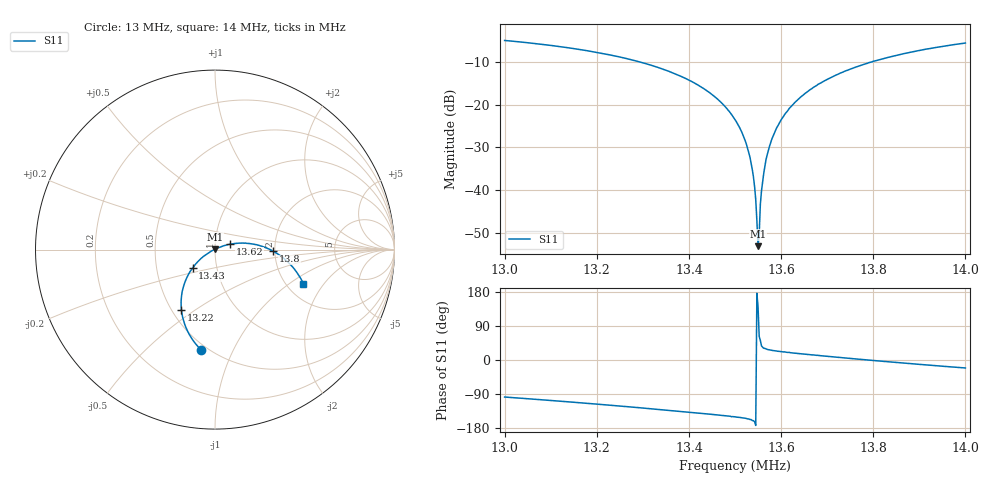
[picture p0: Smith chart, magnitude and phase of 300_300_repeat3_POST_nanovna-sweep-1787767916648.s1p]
! NanoVNA Web complex sweep
! Processing: original sample grid, no browser smoothing
# Hz S RI R 50
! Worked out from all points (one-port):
!   401 points, 13 MHz to 14 MHz, reference 50 ohm
!   lowest |S11| = -53.2 dB at 13.55 MHz (marker M1), VSWR 1.00, Z = 49.8 + j0.139 ohm
!   |S11| at or under -10 dB: 13.29 MHz to 13.8 MHz (502.9 kHz wide, 3.71 % of centre)
!   S11 on the Smith chart (normalised r, x): 13 MHz: 0.46, -0.76; 13.22 MHz: 0.56, -0.44; 13.43 MHz: 0.77, -0.16; 13.62 MHz: 1.18, +0.07; 13.8 MHz: 1.96, -0.04; 14 MHz: 2.46, -1.29
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1.3e7  -0.076 -0.56
1.3125e7  -0.1559 -0.4485
1.3225e7  -0.1867 -0.3378
1.325e7  -0.1891 -0.3083
1.3375e7  -0.1581 -0.1587
1.34275e7  -0.124 -0.1009
1.34675e7  -0.0901 -0.0617
1.35e7  -0.058 -0.0336
1.352e7  -0.0363 -0.0183
1.35325e7  -0.0223 -0.00949
1.354e7  -0.0134 -0.00483
1.35475e7  -0.00434 0.000288
1.355e7  -0.0017 0.00139
1.35525e7  0.00143 0.0027
1.3555e7  0.00421 0.00531
1.356e7  0.0105 0.00697
1.35625e7  0.0136 0.00817
1.35675e7  0.0201 0.0113
1.35725e7  0.026 0.0134
1.358e7  0.0357 0.0171
1.359e7  0.0485 0.0214
1.36175e7  0.0845 0.0312
1.3625e7  0.0941 0.0316
1.36775e7  0.1644 0.0357
1.375e7  0.26 0.0188
1.38025e7  0.324 -0.00882
1.3875e7  0.4001 -0.064
1.4e7  0.4921 -0.189
